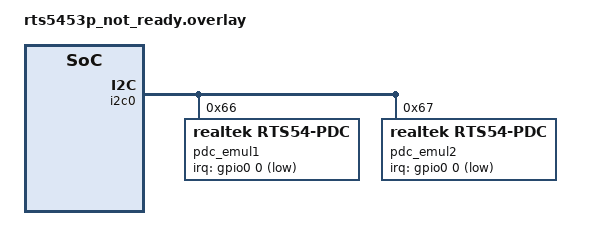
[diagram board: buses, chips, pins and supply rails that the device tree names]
/* Copyright 2024 The ChromiumOS Authors
 * Use of this source code is governed by a BSD-style license that can be
 * found in the LICENSE file.
 */

#include "native_sim.overlay"

/* In this overlay, two RTK PDC nodes are active, but one of them (pdc_emul2,
 * port C1) is marked deferred-init, so it will not start up automatically.
 * This replicates a scenario where a PDC driver fails to initialize
 * successfully for some other reason.
 */

&i2c0 {
	pdc_emul1: rts5453p@66 {
		compatible = "realtek,rts54-pdc";
		status = "okay";
		reg = <0x66>;
		irq-gpios = <&gpio0 0 GPIO_ACTIVE_LOW>;
	};

	pdc_emul2: rts5453p@67 {
		compatible = "realtek,rts54-pdc";
		status = "okay";
		reg = <0x67>;
		irq-gpios = <&gpio0 0 GPIO_ACTIVE_LOW>;
		zephyr,deferred-init;
	};
};
